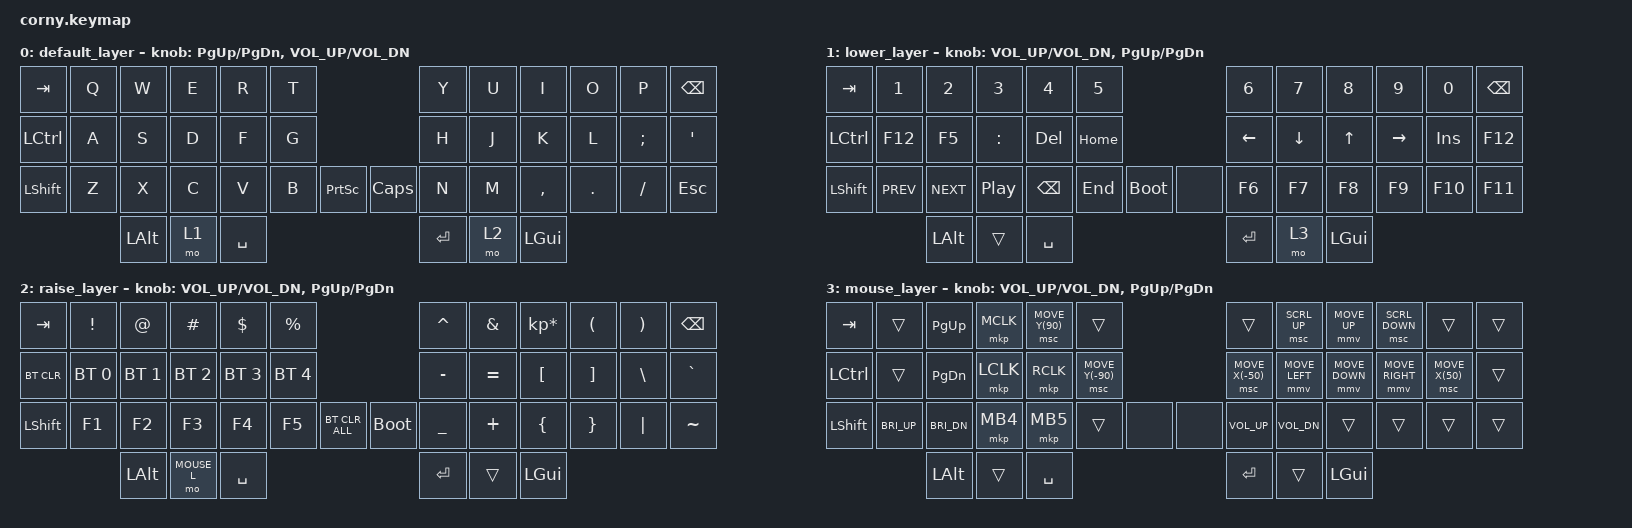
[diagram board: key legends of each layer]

#include <behaviors.dtsi>
#include <dt-bindings/zmk/keys.h>
#include <dt-bindings/zmk/pointing.h>
#include <dt-bindings/zmk/bt.h>
#define ZMK_POINTING_DEFAULT_MOVE_VAL 800
#define ZMK_POINTING_DEFAULT_SCRL_VAL 10
#define MOUSE_L 3
/ {
        keymap {
                compatible = "zmk,keymap";

                default_layer {
// -------------------------------------------------------------------------------------------------
// |  TAB |  Q  |  W  |  E  |  R  |  T  |                    |  Y  |  U   |  I  |  O  |  P  | BKSP |
// | CTRL |  A  |  S  |  D  |  F  |  G  |                    |  H  |  J   |  K  |  L  |  ;  |  '   |
// | SHFT |  Z  |  X  |  C  |  V  |  B  |  MUTE  |  |        |  N  |  M   |  ,  |  .  |  /  | ESC  |
//                    | GUI | LWR | SPC |                    | ENT | RSE  | ALT |
                        bindings = <
   &kp TAB   &kp Q &kp W &kp E &kp R &kp T                     &kp Y &kp U  &kp I     &kp O   &kp P    &kp BSPC
   &kp LCTRL &kp A &kp S &kp D &kp F &kp G                     &kp H &kp J  &kp K     &kp L   &kp SEMI &kp SQT
   &kp LSHFT &kp Z &kp X &kp C &kp V &kp B &kp PSCRN  &kp CAPS &kp N &kp M  &kp COMMA &kp DOT &kp FSLH &kp ESC
                  &kp LALT &mo 1 &kp SPACE                     &kp RET &mo 2 &kp LGUI
                        >;
                        sensor-bindings = <&inc_dec_kp PG_UP PG_DN &inc_dec_kp C_VOL_UP C_VOL_DN>;
                };
                lower_layer {
// ------------------------------------------------------------------------------------------------
// |  TAB |  1  |  2  |  3  |  4  |  5  |                    |  6  |  7  |  8  |  9  |  0  | BKSP |
// | BTCLR| BT1 | BT2 | BT3 | BT4 | BT5 |                    | LFT | DWN |  UP | RGT |     |  F12 |
// | SHFT | F1  | F2  | F3  | F4  | F5  |  boot  |  |        |  F6 | F7  | F8  | F9  | F10 |  F11 |
//                    | GUI |     | SPC |                    | ENT |     | ALT |
                        bindings = <
   &kp TAB    &kp N1     &kp N2     &kp N3    &kp N4   &kp   N5                    &kp N6   &kp N7   &kp N8 &kp N9    &kp N0  &kp BSPC
   &kp LCTRL  &kp F12    &kp F5     &kp COLON &kp DEL  &kp HOME                    &kp LEFT &kp DOWN &kp UP &kp RIGHT &kp INS &kp F12
   &kp LSHFT  &kp C_PREV &kp C_NEXT &kp C_PP  &kp BSPC &kp  END &bootloader &none &kp F6   &kp F7   &kp F8 &kp F9    &kp F10 &kp F11
                                    &kp LALT  &trans   &kp SPACE                   &kp RET  &mo 3    &kp LGUI
                        >;
                        sensor-bindings = <&inc_dec_kp C_VOL_UP C_VOL_DN &inc_dec_kp PG_UP PG_DN>;
                };

                raise_layer {
// ------------------------------------------------------------------------------------------------
// |  TAB |  !  |  @  |  #  |  $  |  %  |                    |  ^  |  &  |  *  |  (  |  )  | BKSP |
// | CTRL |     |     |     |     |     |                    |  -  |  =  |  [  |  ]  |  \  |  `   |
// | SHFT |     |     |     |     |     |        |  |  boot  |  _  |  +  |  {  |  }  | "|" |  ~   |
//                    | GUI |     | SPC |                    | ENT |     | ALT |
                        bindings = <
   &kp  TAB   &kp EXCL     &kp AT       &kp HASH     &kp DLLR     &kp    PRCNT                             &kp CARET &kp AMPS  &kp KP_MULTIPLY &kp LPAR &kp RPAR &kp BSPC
   &bt BT_CLR &bt BT_SEL 0 &bt BT_SEL 1 &bt BT_SEL 2 &bt BT_SEL 3 &bt BT_SEL 4                             &kp MINUS &kp EQUAL &kp LBKT        &kp RBKT &kp BSLH &kp GRAVE
   &kp LSHFT  &kp F1       &kp F2       &kp F3       &kp F4       &kp F5     &bt BT_CLR_ALL  &bootloader   &kp UNDER &kp PLUS  &kp LBRC        &kp RBRC &kp PIPE &kp TILDE
                                                &kp LALT &mo MOUSE_L &kp SPACE                             &kp RET  &trans   &kp LGUI
                        >;
                        sensor-bindings = <&inc_dec_kp C_VOL_UP C_VOL_DN &inc_dec_kp PG_UP PG_DN>;
                };

                mouse_layer {
// ------------------------------------------------------------------------------------------------
// |  TAB |  !  |  @  |  #  |  $  |  %  |                    |  ^  |  &  |  *  |  (  |  )  | BKSP |
// | CTRL |     |     |     |     |     |                    |  -  |  =  |  [  |  ]  |  \  |  `   |
// | SHFT |     |     |     |     |     |        |  |  boot  |  _  |  +  |  {  |  }  | "|" |  ~   |
//                    | GUI |     | SPC |                    | ENT |     | ALT |
                        bindings = <
   &kp  TAB   &trans        &kp PG_UP    &mkp MCLK &msc MOVE_Y(90)  &trans                        &trans           &msc SCRL_UP   &mmv MOVE_UP   &msc SCRL_DOWN  &trans          &trans
   &kp LCTRL  &trans        &kp PG_DN    &mkp LCLK &mkp RCLK        &msc MOVE_Y(-90)              &msc MOVE_X(-50) &mmv MOVE_LEFT &mmv MOVE_DOWN &mmv MOVE_RIGHT &msc MOVE_X(50) &trans
   &kp LSHFT  &kp C_BRI_UP  &kp C_BRI_DN &mkp MB4  &mkp MB5         &trans     &none   &none      &kp C_VOL_UP     &kp C_VOL_DN   &trans         &trans          &trans          &trans
                                      &kp LALT        &trans &kp SPACE                            &kp RET          &trans         &kp LGUI
                        >;
                        sensor-bindings = <&inc_dec_kp C_VOL_UP C_VOL_DN &inc_dec_kp PG_UP PG_DN>;
                };
        };
};
